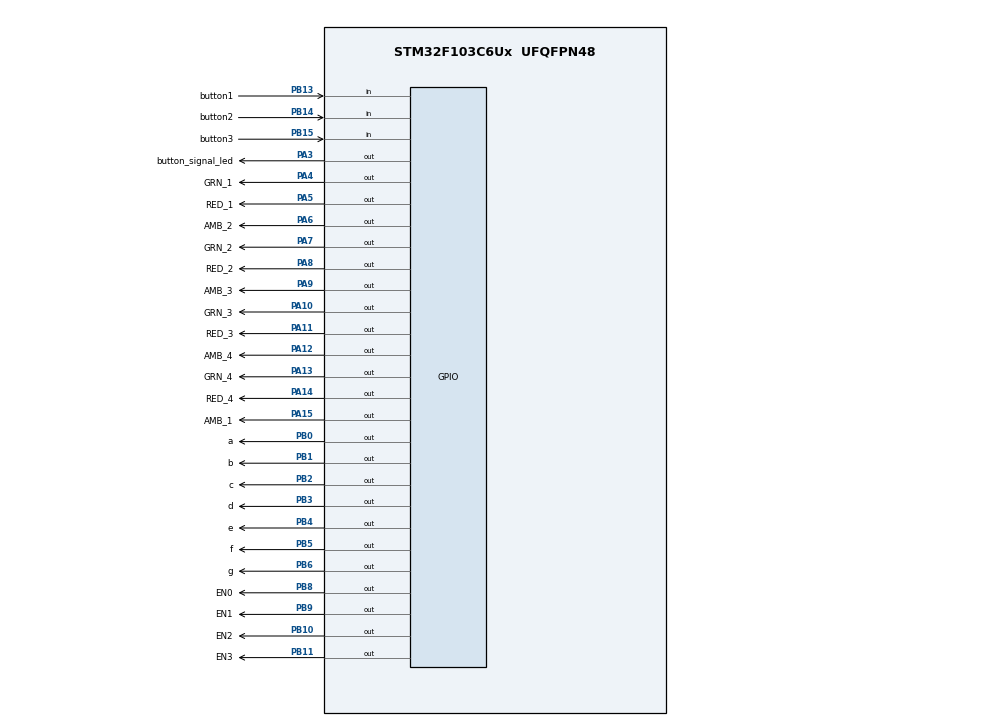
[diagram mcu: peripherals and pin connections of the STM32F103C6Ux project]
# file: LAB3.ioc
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Mcu.Family=STM32F1
Mcu.Name=STM32F103C6Ux
Mcu.Package=UFQFPN48
NVIC.PriorityGroup=NVIC_PRIORITYGROUP_4
NVIC.TIM2_IRQn=true\:0\:0\:false\:false\:true\:true\:true
PA10.GPIO_Label=GRN_3
PA10.Signal=GPIO_Output
PA11.GPIO_Label=RED_3
PA11.Signal=GPIO_Output
PA12.GPIO_Label=AMB_4
PA12.Signal=GPIO_Output
PA13.GPIO_Label=GRN_4
PA13.Signal=GPIO_Output
PA14.GPIO_Label=RED_4
PA14.Signal=GPIO_Output
PA15.GPIO_Label=AMB_1
PA15.Signal=GPIO_Output
PA3.GPIO_Label=button_signal_led
PA3.Signal=GPIO_Output
PA4.GPIO_Label=GRN_1
PA4.Signal=GPIO_Output
PA5.GPIO_Label=RED_1
PA5.Signal=GPIO_Output
PA6.GPIO_Label=AMB_2
PA6.Signal=GPIO_Output
PA7.GPIO_Label=GRN_2
PA7.Signal=GPIO_Output
PA8.GPIO_Label=RED_2
PA8.Signal=GPIO_Output
PA9.GPIO_Label=AMB_3
PA9.Signal=GPIO_Output
PB0.GPIO_Label=a
PB0.Signal=GPIO_Output
PB1.GPIO_Label=b
PB1.Signal=GPIO_Output
PB10.GPIO_Label=EN2
PB10.Signal=GPIO_Output
PB11.GPIO_Label=EN3
PB11.Signal=GPIO_Output
PB13.GPIO_Label=button1
PB13.GPIO_PuPd=GPIO_PULLUP
PB13.Signal=GPIO_Input
PB14.GPIO_Label=button2
PB14.GPIO_PuPd=GPIO_PULLUP
PB14.Signal=GPIO_Input
PB15.GPIO_Label=button3
PB15.GPIO_PuPd=GPIO_PULLUP
PB15.Signal=GPIO_Input
PB2.GPIO_Label=c
PB2.Signal=GPIO_Output
PB3.GPIO_Label=d
PB3.Signal=GPIO_Output
PB4.GPIO_Label=e
PB4.Signal=GPIO_Output
PB5.GPIO_Label=f
PB5.Signal=GPIO_Output
PB6.GPIO_Label=g
PB6.Signal=GPIO_Output
PB8.GPIO_Label=EN0
PB8.Signal=GPIO_Output
PB9.GPIO_Label=EN1
PB9.Signal=GPIO_Output
ProjectManager.HeapSize=0x200
ProjectManager.StackSize=0x400
ProjectManager.TargetToolchain=STM32CubeIDE
RCC.APB1Freq_Value=8000000
RCC.APB2Freq_Value=8000000
TIM2.Period=9
TIM2.Prescaler=7999
VP_SYS_VS_ND.Mode=No_Debug
VP_TIM2_VS_ClockSourceINT.Mode=Internal
board=custom

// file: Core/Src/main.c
/* USER CODE BEGIN Header */
/**
  ******************************************************************************
  * @file           : main.c
  * @brief          : Main program body
  ******************************************************************************
  * @attention
  *
  * <h2><center>&copy; Copyright (c) 2026 STMicroelectronics.
  * All rights reserved.</center></h2>
  *
  * This software component is licensed by ST under BSD 3-Clause license,
  * the "License"; You may not use this file except in compliance with the
  * License. You may obtain a copy of the License at:
  *                        opensource.org/licenses/BSD-3-Clause
  *
  ******************************************************************************
  */
/* USER CODE END Header */
#include "main.h"

/* USER CODE BEGIN Includes */
#include "global.h"
#include "software_timer.h"
#include "button.h"
#include "led7_segment.h"
#include "fsm_automatic.h"
#include "fsm_manual.h"
/* USER CODE END Includes */

TIM_HandleTypeDef htim2;

void SystemClock_Config(void);
static void MX_GPIO_Init(void);
static void MX_TIM2_Init(void);

int main(void)
{

  /* MCU Configuration--------------------------------------------------------*/

  /* Reset of all peripherals, Initializes the Flash interface and the Systick. */
  HAL_Init();

  /* Configure the system clock */
  SystemClock_Config();

  /* Initialize all configured peripherals */
  MX_GPIO_Init();
  MX_TIM2_Init();
  /* USER CODE BEGIN 2 */
  HAL_TIM_Base_Start_IT(&htim2);
  setTimer(TIMER_7SEG, 10);   // Khoi dong Timer quet LED 7 doan
  turn_off_all_leds();       // tat toan bo den truoc khi chay FSM
  /* USER CODE END 2 */

  /* Infinite loop */
  /* USER CODE BEGIN WHILE */
  while (1)
  {
	  fsm_automatic_run();
	  fsm_manual_run();
	  fsm_7seg_run();
    /* USER CODE END WHILE */

  }
}

void SystemClock_Config(void)
{
  RCC_OscInitTypeDef RCC_OscInitStruct = {0};
  RCC_ClkInitTypeDef RCC_ClkInitStruct = {0};

  /** Initializes the RCC Oscillators according to the specified parameters
  * in the RCC_OscInitTypeDef structure.
  */
  RCC_OscInitStruct.OscillatorType = RCC_OSCILLATORTYPE_HSI;
  RCC_OscInitStruct.HSIState = RCC_HSI_ON;
  RCC_OscInitStruct.HSICalibrationValue = RCC_HSICALIBRATION_DEFAULT;
  RCC_OscInitStruct.PLL.PLLState = RCC_PLL_NONE;
  if (HAL_RCC_OscConfig(&RCC_OscInitStruct) != HAL_OK)
  {
    Error_Handler();
  }
  /** Initializes the CPU, AHB and APB buses clocks
  */
  RCC_ClkInitStruct.ClockType = RCC_CLOCKTYPE_HCLK|RCC_CLOCKTYPE_SYSCLK
                              |RCC_CLOCKTYPE_PCLK1|RCC_CLOCKTYPE_PCLK2;
  RCC_ClkInitStruct.SYSCLKSource = RCC_SYSCLKSOURCE_HSI;
  RCC_ClkInitStruct.AHBCLKDivider = RCC_SYSCLK_DIV1;
  RCC_ClkInitStruct.APB1CLKDivider = RCC_HCLK_DIV1;
  RCC_ClkInitStruct.APB2CLKDivider = RCC_HCLK_DIV1;

  if (HAL_RCC_ClockConfig(&RCC_ClkInitStruct, FLASH_LATENCY_0) != HAL_OK)
  {
    Error_Handler();
  }
}

static void MX_TIM2_Init(void)
{

  TIM_ClockConfigTypeDef sClockSourceConfig = {0};
  TIM_MasterConfigTypeDef sMasterConfig = {0};

  htim2.Instance = TIM2;
  htim2.Init.Prescaler = 7999;
  htim2.Init.CounterMode = TIM_COUNTERMODE_UP;
  htim2.Init.Period = 9;
  htim2.Init.ClockDivision = TIM_CLOCKDIVISION_DIV1;
  htim2.Init.AutoReloadPreload = TIM_AUTORELOAD_PRELOAD_DISABLE;
  if (HAL_TIM_Base_Init(&htim2) != HAL_OK)
  {
    Error_Handler();
  }
  sClockSourceConfig.ClockSource = TIM_CLOCKSOURCE_INTERNAL;
  if (HAL_TIM_ConfigClockSource(&htim2, &sClockSourceConfig) != HAL_OK)
  {
    Error_Handler();
  }
  sMasterConfig.MasterOutputTrigger = TIM_TRGO_RESET;
  sMasterConfig.MasterSlaveMode = TIM_MASTERSLAVEMODE_DISABLE;
  if (HAL_TIMEx_MasterConfigSynchronization(&htim2, &sMasterConfig) != HAL_OK)
  {
    Error_Handler();
  }

}

static void MX_GPIO_Init(void)
{
  GPIO_InitTypeDef GPIO_InitStruct = {0};

  /* GPIO Ports Clock Enable */
  __HAL_RCC_GPIOA_CLK_ENABLE();
  __HAL_RCC_GPIOB_CLK_ENABLE();

  /*Configure GPIO pin Output Level */
  HAL_GPIO_WritePin(GPIOA, button_signal_led_Pin|GRN_1_Pin|RED_1_Pin|AMB_2_Pin
                          |GRN_2_Pin|RED_2_Pin|AMB_3_Pin|GRN_3_Pin
                          |RED_3_Pin|AMB_4_Pin|GRN_4_Pin|RED_4_Pin
                          |AMB_1_Pin, GPIO_PIN_RESET);

  /*Configure GPIO pin Output Level */
  HAL_GPIO_WritePin(GPIOB, a_Pin|b_Pin|c_Pin|EN2_Pin
                          |EN3_Pin|d_Pin|e_Pin|f_Pin
                          |g_Pin|EN0_Pin|EN1_Pin, GPIO_PIN_RESET);

  /*Configure GPIO pins : button_signal_led_Pin GRN_1_Pin RED_1_Pin AMB_2_Pin
                           GRN_2_Pin RED_2_Pin AMB_3_Pin GRN_3_Pin
                           RED_3_Pin AMB_4_Pin GRN_4_Pin RED_4_Pin
                           AMB_1_Pin */
  GPIO_InitStruct.Pin = button_signal_led_Pin|GRN_1_Pin|RED_1_Pin|AMB_2_Pin
                          |GRN_2_Pin|RED_2_Pin|AMB_3_Pin|GRN_3_Pin
                          |RED_3_Pin|AMB_4_Pin|GRN_4_Pin|RED_4_Pin
                          |AMB_1_Pin;
  GPIO_InitStruct.Mode = GPIO_MODE_OUTPUT_PP;
  GPIO_InitStruct.Pull = GPIO_NOPULL;
  GPIO_InitStruct.Speed = GPIO_SPEED_FREQ_LOW;
  HAL_GPIO_Init(GPIOA, &GPIO_InitStruct);

  /*Configure GPIO pins : a_Pin b_Pin c_Pin EN2_Pin
                           EN3_Pin d_Pin e_Pin f_Pin
                           g_Pin EN0_Pin EN1_Pin */
  GPIO_InitStruct.Pin = a_Pin|b_Pin|c_Pin|EN2_Pin
                          |EN3_Pin|d_Pin|e_Pin|f_Pin
                          |g_Pin|EN0_Pin|EN1_Pin;
  GPIO_InitStruct.Mode = GPIO_MODE_OUTPUT_PP;
  GPIO_InitStruct.Pull = GPIO_NOPULL;
  GPIO_InitStruct.Speed = GPIO_SPEED_FREQ_LOW;
  HAL_GPIO_Init(GPIOB, &GPIO_InitStruct);

  /*Configure GPIO pins : button1_Pin button2_Pin button3_Pin */
  GPIO_InitStruct.Pin = button1_Pin|button2_Pin|button3_Pin;
  GPIO_InitStruct.Mode = GPIO_MODE_INPUT;
  GPIO_InitStruct.Pull = GPIO_PULLUP;
  HAL_GPIO_Init(GPIOB, &GPIO_InitStruct);

}

/* USER CODE BEGIN 4 */
void HAL_TIM_PeriodElapsedCallback(TIM_HandleTypeDef *htim)
{
    if (htim->Instance == TIM2) {
        timerRun();
        getKeyInput();
    }
}
/* USER CODE END 4 */

void Error_Handler(void)
{
  __disable_irq();
  while (1)
  {
  }
}

/************************ (C) COPYRIGHT STMicroelectronics *****END OF FILE****/
